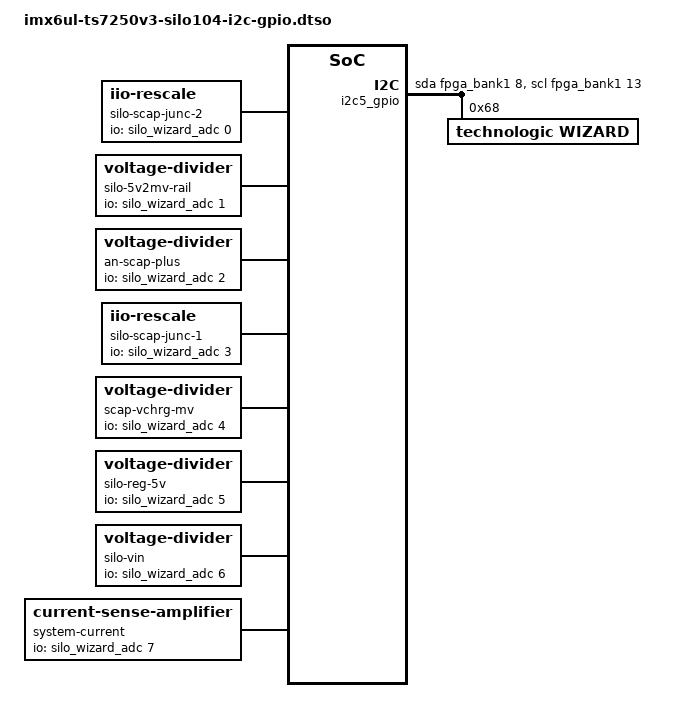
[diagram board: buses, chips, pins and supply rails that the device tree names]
/dts-v1/;
/plugin/;

#include <dt-bindings/gpio/gpio.h>
#include <dt-bindings/interrupt-controller/irq.h>

/ {
    fragment@0 {
        target-path = "/";
        __overlay__ {
            i2c5_gpio: i2c-104 {
                compatible = "i2c-gpio";

                /* FPGA bank1 pins: SCL=13, SDA=8 */
                scl-gpios = <&fpga_bank1 13 (GPIO_ACTIVE_HIGH | GPIO_OPEN_DRAIN)>;
                sda-gpios = <&fpga_bank1  8 (GPIO_ACTIVE_HIGH | GPIO_OPEN_DRAIN)>;

                #address-cells = <1>;
                #size-cells = <0>;
            };
        };
    };

    fragment@1 {
        target-path = "/aliases";
        __overlay__ {
            i2c5 = &i2c5_gpio;
        };
    };

    /* Add the wizard device tree under the i2c5_gpio bus */
    fragment@2 {
        target = <&i2c5_gpio>;
        __overlay__ {
            wizard: wizard@68 {
                compatible = "technologic,wizard";
                reg = <0x68>;

                silo_wizard_adc: silo-wizard-adc {
                    compatible = "technologic,wizard-adc";
                    #io-channel-cells = <1>;
                };

                wizard_irq: silo-interrupt-controller {
                    compatible = "technologic,wizard-irq";
                    interrupt-parent = <&fpga_intc>;     
                    interrupts = <17 IRQ_TYPE_LEVEL_HIGH>;

                    #interrupt-cells = <1>;
                    interrupt-controller;
                };

                wizard_silo: silo {
                    compatible = "technologic,wizard-silo";
                    interrupt-parent = <&fpga_intc>;
                    interrupts = <17 IRQ_TYPE_LEVEL_HIGH>;
                };

                wizard_temp: temperature-sensor {
                    compatible = "technologic,wizard-temp";
                    #io-channel-cells = <0>;
                };

                wizard_reset: reset-controller {
                    compatible = "technologic,wizard-reset";
                    #reset-cells = <1>;
                };
            };
        };
    };

    /* ADC voltage-divider helpers for Silo104, channels 0..7 */
    fragment@3 {
        target-path = "/";
        __overlay__ {

            /* iio-rescale to reflect 1:1 scaling */
            scap_junc_2: an-scap-junc-2 {
                compatible = "iio-rescale";
                io-channels = <&silo_wizard_adc 0>;
                io-channel-names = "parent";
                label = "silo-scap-junc-2";

                numerator = <1>;
                denominator = <1>;
                type = "voltage";

                #io-channel-cells = <0>;
            };

            silo_5v2mv_rail: an-silo-5v2mv-rail {
                compatible = "voltage-divider";
                io-channels = <&silo_wizard_adc 1>;
                label = "silo-5v2mv-rail";
                io-channel-names = "parent";
                output-ohms = <75000>;
                full-ohms   = <150000>;
                #io-channel-cells = <0>;
            };

            silo_scap_plus: an-scap-plus {
                compatible = "voltage-divider";
                io-channels = <&silo_wizard_adc 2>;
                io-channel-names = "parent";
                label = "an-scap-plus";
                output-ohms = <75000>;
                full-ohms   = <150000>;
                #io-channel-cells = <0>;
            };

            /* iio-rescale to reflect 1:1 scaling */
            scap_junc_1: an-scap-junc-1 {
                compatible = "iio-rescale";
                io-channels = <&silo_wizard_adc 3>;
                io-channel-names = "parent";
                label = "silo-scap-junc-1";

                numerator = <1>;
                denominator = <1>;
                type = "voltage";

                #io-channel-cells = <0>;
            };

            scap_vchrg_mv: an-scap-vchrg-mv {
                compatible = "voltage-divider";
                io-channels = <&silo_wizard_adc 4>;
                label = "scap-vchrg-mv";
                io-channel-names = "parent";
                output-ohms = <75000>;
                full-ohms   = <150000>;
                #io-channel-cells = <0>;
            };

            silo_reg_5v: an-silo-reg-5v {
                compatible = "voltage-divider";
                io-channels = <&silo_wizard_adc 5>;
                label = "silo-reg-5v";
                output-ohms = <75000>; 
                full-ohms   = <150000>; 
                #io-channel-cells = <0>;
            };

            silo_vin: an-silo-vin {
                compatible = "voltage-divider";
                io-channels = <&silo_wizard_adc 6>;
                label = "silo-vin";
                output-ohms = <4990>; 
                full-ohms   = <79990>;
                #io-channel-cells = <0>;
            };

            /* Total system current draw */
            silo_sbc_current: an-silo-sbc-current {
                compatible = "current-sense-amplifier";
                io-channels = <&silo_wizard_adc 7>;
                label = "system-current";
                #io-channel-cells = <0>;

                /* Effective shunt: R43 || R44 = 50 mOhm */
                sense-resistor-micro-ohms = <50000>; /* 50 milliohm */

                /* VSENSE->VOUT gain: 0.004 * (8.66k || 6.04k) ~= 14.233 V/V */
                sense-gain-mult = <14233>;
                sense-gain-div = <1000>;
            };
        };
    };
};

